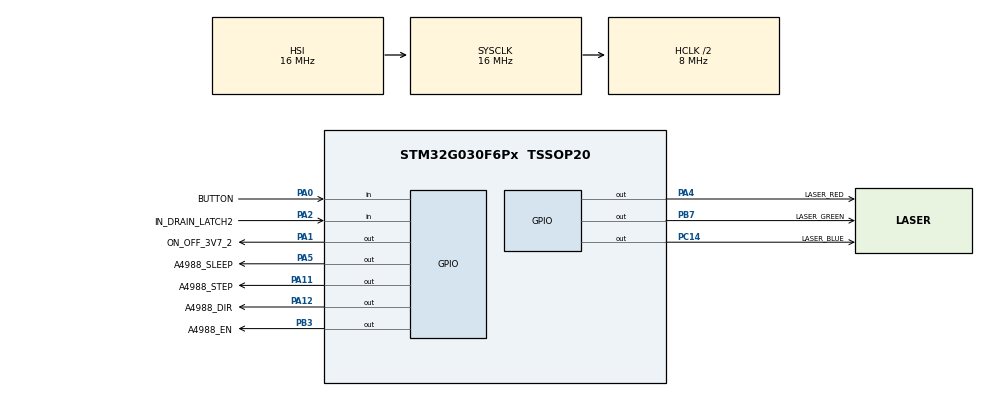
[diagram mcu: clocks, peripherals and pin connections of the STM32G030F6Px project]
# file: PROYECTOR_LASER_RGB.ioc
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Mcu.Family=STM32G0
Mcu.Name=STM32G030F6Px
Mcu.Package=TSSOP20
PA0.GPIO_Label=BUTTON
PA0.Signal=GPIO_Input
PA1.GPIO_Label=ON_OFF_3V7_2
PA1.Signal=GPIO_Output
PA11\ [PA9].GPIO_Label=A4988_STEP
PA11\ [PA9].Signal=GPIO_Output
PA12\ [PA10].GPIO_Label=A4988_DIR
PA12\ [PA10].Signal=GPIO_Output
PA13.Mode=Serial_Wire
PA13.Signal=SYS_SWDIO
PA14-BOOT0.Mode=Serial_Wire
PA14-BOOT0.Signal=SYS_SWCLK
PA14-BOOT0__PA15.StandardMode=true
PA2.GPIO_Label=IN_DRAIN_LATCH2
PA2.Signal=GPIO_Input
PA4.GPIO_Label=LASER_RED
PA4.Signal=GPIO_Output
PA5.GPIO_Label=A4988_SLEEP
PA5.PinState=GPIO_PIN_SET
PA5.Signal=GPIO_Output
PB0__PB1__PB2__PA8.StandardMode=true
PB3.GPIO_Label=A4988_EN
PB3.Signal=GPIO_Output
PB3__PB4__PB5__PB6.StandardMode=true
PB7.GPIO_Label=LASER_GREEN
PB7.Signal=GPIO_Output
PB7__PB8.StandardMode=true
PC14-OSC32_IN\ (PC14).GPIO_Label=LASER_BLUE
PC14-OSC32_IN\ (PC14).Signal=GPIO_Output
PC14-OSC32_IN\ (PC14)__PB9.StandardMode=true
ProjectManager.HeapSize=0x200
ProjectManager.StackSize=0x400
ProjectManager.TargetToolchain=STM32CubeIDE
RCC.AHBCLKDivider=RCC_SYSCLK_DIV2
RCC.AHBFreq_Value=8000000
RCC.CortexFreq_Value=8000000
RCC.EXTERNAL_CLOCK_VALUE=12288000
RCC.HCLKFreq_Value=8000000
RCC.HSE_VALUE=8000000
RCC.HSI_VALUE=16000000
RCC.LSE_VALUE=32768
RCC.SYSCLKFreq_VALUE=16000000
RCC.VCOOutputFreq_Value=128000000
board=custom

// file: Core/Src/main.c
/* USER CODE BEGIN Header */
/**
  ******************************************************************************
  * @file           : main.c
  * @brief          : Main program body
  ******************************************************************************
  * @attention
  *
  * Copyright (c) 2025 STMicroelectronics.
  * All rights reserved.
  *
  * This software is licensed under terms that can be found in the LICENSE file
  * in the root directory of this software component.
  * If no LICENSE file comes with this software, it is provided AS-IS.
  *
  ******************************************************************************
  */
/* USER CODE END Header */
#include "main.h"

void SystemClock_Config(void);
static void MX_GPIO_Init(void);

int main(void)
{

  /* MCU Configuration--------------------------------------------------------*/

  /* Reset of all peripherals, Initializes the Flash interface and the Systick. */
  HAL_Init();

  /* Configure the system clock */
  SystemClock_Config();

  /* Initialize all configured peripherals */
  MX_GPIO_Init();
  /* USER CODE BEGIN 2 */
  HAL_GPIO_WritePin(ON_OFF_3V7_2_GPIO_Port, ON_OFF_3V7_2_Pin, 1);

  /* USER CODE END 2 */

  /* Infinite loop */
  /* USER CODE BEGIN WHILE */
  uint16_t tiempo_ms=1;
  uint32_t startTime = HAL_GetTick();// Tiempo inicial

  while (1)
  {

	  //encender los laseres con el pulsador para pruebas inciales
	  if(HAL_GPIO_ReadPin(BUTTON_GPIO_Port, BUTTON_Pin)==1){
		  HAL_GPIO_WritePin(LASER_BLUE_GPIO_Port , LASER_BLUE_Pin , 1);
		  HAL_GPIO_WritePin(LASER_GREEN_GPIO_Port, LASER_GREEN_Pin, 1);
		  HAL_GPIO_WritePin(LASER_RED_GPIO_Port  , LASER_RED_Pin  , 1);
	  }else{
		  HAL_GPIO_WritePin(LASER_BLUE_GPIO_Port , LASER_BLUE_Pin , 0);
		  HAL_GPIO_WritePin(LASER_GREEN_GPIO_Port, LASER_GREEN_Pin, 0);
		  HAL_GPIO_WritePin(LASER_RED_GPIO_Port  , LASER_RED_Pin  , 0);
	  }

	  if (HAL_GetTick() - startTime >= 80){//
		  startTime += 80;//mas preciso que "startTime = HAL_GetTick();"

		  HAL_GPIO_WritePin(A4988_EN_GPIO_Port, A4988_EN_Pin, 0);//habilito el motor
		  HAL_GPIO_WritePin(A4988_DIR_GPIO_Port, A4988_DIR_Pin, 1);//sentido horario
		  for(int i = 0; i < 2; i++){
			  HAL_GPIO_WritePin(A4988_STEP_GPIO_Port, A4988_STEP_Pin, 1);HAL_Delay(tiempo_ms);
			  HAL_GPIO_WritePin(A4988_STEP_GPIO_Port, A4988_STEP_Pin, 0);HAL_Delay(tiempo_ms);
		  }
		  HAL_GPIO_WritePin(A4988_EN_GPIO_Port, A4988_EN_Pin, 1);//deshabilito el motor
	  }

	  /*
	  for(uint8_t i=0; i < 10; i++){
		  HAL_GPIO_WritePin(LASER_BLUE_GPIO_Port, LASER_BLUE_Pin, SET);HAL_Delay(500);
		  HAL_GPIO_WritePin(LASER_BLUE_GPIO_Port, LASER_BLUE_Pin, RESET);HAL_Delay(500);

		  HAL_GPIO_WritePin(LASER_GREEN_GPIO_Port, LASER_GREEN_Pin, SET);HAL_Delay(500);
		  HAL_GPIO_WritePin(LASER_GREEN_GPIO_Port, LASER_GREEN_Pin, RESET);HAL_Delay(500);

		  HAL_GPIO_WritePin(LASER_RED_GPIO_Port, LASER_RED_Pin, SET);HAL_Delay(500);
		  HAL_GPIO_WritePin(LASER_RED_GPIO_Port, LASER_RED_Pin, RESET);HAL_Delay(500);
	  }
	  */

    /* USER CODE END WHILE */

  }
}

void SystemClock_Config(void)
{
  RCC_OscInitTypeDef RCC_OscInitStruct = {0};
  RCC_ClkInitTypeDef RCC_ClkInitStruct = {0};

  /** Configure the main internal regulator output voltage
  */
  HAL_PWREx_ControlVoltageScaling(PWR_REGULATOR_VOLTAGE_SCALE1);

  /** Initializes the RCC Oscillators according to the specified parameters
  * in the RCC_OscInitTypeDef structure.
  */
  RCC_OscInitStruct.OscillatorType = RCC_OSCILLATORTYPE_HSI;
  RCC_OscInitStruct.HSIState = RCC_HSI_ON;
  RCC_OscInitStruct.HSIDiv = RCC_HSI_DIV1;
  RCC_OscInitStruct.HSICalibrationValue = RCC_HSICALIBRATION_DEFAULT;
  RCC_OscInitStruct.PLL.PLLState = RCC_PLL_NONE;
  if (HAL_RCC_OscConfig(&RCC_OscInitStruct) != HAL_OK)
  {
    Error_Handler();
  }

  /** Initializes the CPU, AHB and APB buses clocks
  */
  RCC_ClkInitStruct.ClockType = RCC_CLOCKTYPE_HCLK|RCC_CLOCKTYPE_SYSCLK
                              |RCC_CLOCKTYPE_PCLK1;
  RCC_ClkInitStruct.SYSCLKSource = RCC_SYSCLKSOURCE_HSI;
  RCC_ClkInitStruct.AHBCLKDivider = RCC_SYSCLK_DIV2;
  RCC_ClkInitStruct.APB1CLKDivider = RCC_HCLK_DIV1;

  if (HAL_RCC_ClockConfig(&RCC_ClkInitStruct, FLASH_LATENCY_0) != HAL_OK)
  {
    Error_Handler();
  }
}

static void MX_GPIO_Init(void)
{
  GPIO_InitTypeDef GPIO_InitStruct = {0};

  /* GPIO Ports Clock Enable */
  __HAL_RCC_GPIOB_CLK_ENABLE();
  __HAL_RCC_GPIOC_CLK_ENABLE();
  __HAL_RCC_GPIOA_CLK_ENABLE();

  /*Configure GPIO pin Output Level */
  HAL_GPIO_WritePin(GPIOB, LASER_GREEN_Pin|A4988_EN_Pin, GPIO_PIN_RESET);

  /*Configure GPIO pin Output Level */
  HAL_GPIO_WritePin(LASER_BLUE_GPIO_Port, LASER_BLUE_Pin, GPIO_PIN_RESET);

  /*Configure GPIO pin Output Level */
  HAL_GPIO_WritePin(GPIOA, ON_OFF_3V7_2_Pin|LASER_RED_Pin|A4988_STEP_Pin|A4988_DIR_Pin, GPIO_PIN_RESET);

  /*Configure GPIO pin Output Level */
  HAL_GPIO_WritePin(A4988_SLEEP_GPIO_Port, A4988_SLEEP_Pin, GPIO_PIN_SET);

  /*Configure GPIO pins : LASER_GREEN_Pin A4988_EN_Pin */
  GPIO_InitStruct.Pin = LASER_GREEN_Pin|A4988_EN_Pin;
  GPIO_InitStruct.Mode = GPIO_MODE_OUTPUT_PP;
  GPIO_InitStruct.Pull = GPIO_NOPULL;
  GPIO_InitStruct.Speed = GPIO_SPEED_FREQ_LOW;
  HAL_GPIO_Init(GPIOB, &GPIO_InitStruct);

  /*Configure GPIO pin : LASER_BLUE_Pin */
  GPIO_InitStruct.Pin = LASER_BLUE_Pin;
  GPIO_InitStruct.Mode = GPIO_MODE_OUTPUT_PP;
  GPIO_InitStruct.Pull = GPIO_NOPULL;
  GPIO_InitStruct.Speed = GPIO_SPEED_FREQ_LOW;
  HAL_GPIO_Init(LASER_BLUE_GPIO_Port, &GPIO_InitStruct);

  /*Configure GPIO pins : BUTTON_Pin IN_DRAIN_LATCH2_Pin */
  GPIO_InitStruct.Pin = BUTTON_Pin|IN_DRAIN_LATCH2_Pin;
  GPIO_InitStruct.Mode = GPIO_MODE_INPUT;
  GPIO_InitStruct.Pull = GPIO_NOPULL;
  HAL_GPIO_Init(GPIOA, &GPIO_InitStruct);

  /*Configure GPIO pins : ON_OFF_3V7_2_Pin LASER_RED_Pin A4988_SLEEP_Pin A4988_STEP_Pin
                           A4988_DIR_Pin */
  GPIO_InitStruct.Pin = ON_OFF_3V7_2_Pin|LASER_RED_Pin|A4988_SLEEP_Pin|A4988_STEP_Pin
                          |A4988_DIR_Pin;
  GPIO_InitStruct.Mode = GPIO_MODE_OUTPUT_PP;
  GPIO_InitStruct.Pull = GPIO_NOPULL;
  GPIO_InitStruct.Speed = GPIO_SPEED_FREQ_LOW;
  HAL_GPIO_Init(GPIOA, &GPIO_InitStruct);

}

void Error_Handler(void)
{
  __disable_irq();
  while (1)
  {
  }
}
